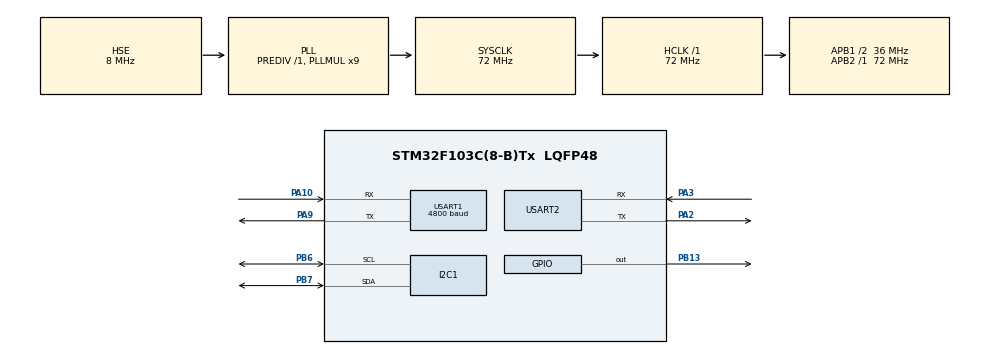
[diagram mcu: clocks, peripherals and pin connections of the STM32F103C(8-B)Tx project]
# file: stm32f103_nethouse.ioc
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Mcu.Family=STM32F1
Mcu.Name=STM32F103C(8-B)Tx
Mcu.Package=LQFP48
NVIC.PriorityGroup=NVIC_PRIORITYGROUP_4
PA10.Mode=Asynchronous
PA10.Signal=USART1_RX
PA13.Mode=Serial_Wire
PA13.Signal=SYS_JTMS-SWDIO
PA14.Mode=Serial_Wire
PA14.Signal=SYS_JTCK-SWCLK
PA2.Mode=Asynchronous
PA2.Signal=USART2_TX
PA3.Mode=Asynchronous
PA3.Signal=USART2_RX
PA9.Mode=Asynchronous
PA9.Signal=USART1_TX
PB13.Signal=GPIO_Output
PB6.Mode=I2C
PB6.Signal=I2C1_SCL
PB7.Mode=I2C
PB7.Signal=I2C1_SDA
PD0-OSC_IN.Mode=HSE-External-Oscillator
PD0-OSC_IN.Signal=RCC_OSC_IN
PD1-OSC_OUT.Mode=HSE-External-Oscillator
PD1-OSC_OUT.Signal=RCC_OSC_OUT
ProjectManager.HeapSize=0x200
ProjectManager.StackSize=0x400
ProjectManager.TargetToolchain=STM32CubeIDE
RCC.AHBFreq_Value=72000000
RCC.APB1CLKDivider=RCC_HCLK_DIV2
RCC.APB1Freq_Value=36000000
RCC.APB1TimFreq_Value=72000000
RCC.APB2Freq_Value=72000000
RCC.APB2TimFreq_Value=72000000
RCC.HCLKFreq_Value=72000000
RCC.PLLMUL=RCC_PLL_MUL9
RCC.PLLSourceVirtual=RCC_PLLSOURCE_HSE
RCC.SYSCLKFreq_VALUE=72000000
RCC.SYSCLKSource=RCC_SYSCLKSOURCE_PLLCLK
RCC.USBFreq_Value=72000000
USART1.BaudRate=4800
USART1.VirtualMode=VM_ASYNC
USART2.VirtualMode=VM_ASYNC
board=custom

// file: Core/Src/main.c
/* USER CODE BEGIN Header */
/**
  ******************************************************************************
  * @file           : main.c
  * @brief          : Main program body
  ******************************************************************************
  * @attention
  *
  * Copyright (c) 2025 STMicroelectronics.
  * All rights reserved.
  *
  * This software is licensed under terms that can be found in the LICENSE file
  * in the root directory of this software component.
  * If no LICENSE file comes with this software, it is provided AS-IS.
  *
  ******************************************************************************
  */
/* USER CODE END Header */
#include "main.h"

/* USER CODE BEGIN Includes */
#include "modbus_crc.h"
#include "stdint.h"
/* USER CODE END Includes */

I2C_HandleTypeDef hi2c1;

UART_HandleTypeDef huart1;
UART_HandleTypeDef huart2;

/* USER CODE BEGIN PV */
//uint8_t button = 0;

#define DS3231_ADDRESS 0x68
// Declare individual variables for time and date
uint8_t seconds, minutes, hour, dayofweek, dayofmonth, month, year;

// Commands for operation pump
uint8_t cmd_off_motor = 0x00;
uint8_t cmd_on_motor  = 0x01;

//Commands to read modbus sensor
uint8_t modbus_cmd[8];
uint8_t modbus_recv[15];

float moisture           = 0.0;
uint16_t moisture_raw    = 0;
uint16_t temperature_raw = 0;
uint16_t ec_raw          = 0;

/* USER CODE END PV */

void SystemClock_Config(void);
static void MX_GPIO_Init(void);
static void MX_USART1_UART_Init(void);
static void MX_USART2_UART_Init(void);
static void MX_I2C1_Init(void);

/* USER CODE BEGIN 0 */

//====================================== Read Modbus Sensor====================================//

void modbus_tx_data() {
    uint8_t modbus_cmd[8] = {0x01, 0x03, 0x00, 0x00, 0x00, 0x03};
    // Calculate CRC for the first 6 bytes
    uint16_t crc = crc16(modbus_cmd, 6);
    modbus_cmd[6] = crc & 0xFF;       // CRC LOW
    modbus_cmd[7] = (crc >> 8) & 0xFF; // CRC HIGH

    HAL_UART_Transmit(&huart1, modbus_cmd, 8, 1000); // Send data
    HAL_Delay(10);
    HAL_UART_Receive(&huart1, modbus_recv, 15, 1000);

	if (modbus_recv[0] == 0x01 && modbus_recv[1] == 0x03) {
		moisture_raw = (modbus_recv[3] << 8) | modbus_recv[4];
		temperature_raw = (modbus_recv[5] << 8) | modbus_recv[6];
		ec_raw = (modbus_recv[7] << 8) | modbus_recv[8];
        moisture = moisture_raw / 10.0;       // Convert to %
	}
}

//========================================== RTC Function======================================//

// Convert normal decimal numbers to binary coded decimal
uint8_t decToBcd(int val)
{
    return (uint8_t)((val / 10 * 16) + (val % 10));
}

// Convert binary coded decimal to normal decimal numbers
int bcdToDec(uint8_t val)
{
    return (int)((val / 16 * 10) + (val % 16));
}

// Function to set time
void Set_Time(uint8_t sec, uint8_t min, uint8_t hr, uint8_t dow, uint8_t dom, uint8_t mon, uint8_t yr)
{
    uint8_t set_time[7];
    set_time[0] = decToBcd(sec);   // Seconds
    set_time[1] = decToBcd(min);   // Minutes
    set_time[2] = decToBcd(hr);    // Hours
    set_time[3] = decToBcd(dow);   // Day of week
    set_time[4] = decToBcd(dom);   // Day of month
    set_time[5] = decToBcd(mon);   // Month
    set_time[6] = decToBcd(yr);    // Year

    HAL_I2C_Mem_Write(&hi2c1, DS3231_ADDRESS << 1, 0x00, 1, set_time, 7, 1000);
}

// Function to get time
void Get_Time(void)
{
    uint8_t get_time[7];
    HAL_I2C_Mem_Read(&hi2c1, DS3231_ADDRESS << 1, 0x00, 1, get_time, 7, 1000);

    // Convert BCD values to decimal and store in individual variables
    seconds = bcdToDec(get_time[0]);
    minutes = bcdToDec(get_time[1]);
    hour = bcdToDec(get_time[2]);
    dayofweek = bcdToDec(get_time[3]);
    dayofmonth = bcdToDec(get_time[4]);
    month = bcdToDec(get_time[5]);
    year = bcdToDec(get_time[6]);
}

/* USER CODE END 0 */

int main(void)
{

  /* MCU Configuration--------------------------------------------------------*/

  /* Reset of all peripherals, Initializes the Flash interface and the Systick. */
  HAL_Init();

  /* Configure the system clock */
  SystemClock_Config();

  /* Initialize all configured peripherals */
  MX_GPIO_Init();
  MX_USART1_UART_Init();
  MX_USART2_UART_Init();
  MX_I2C1_Init();
  /* USER CODE BEGIN 2 */

  //Initialize RTC
  Set_Time(00, 20, 10, 1, 20, 5, 25);

  //Turn OFF Valve and cmd to turn off valve
  HAL_GPIO_WritePin(GPIOB, GPIO_PIN_13, 0);
  HAL_UART_Transmit(&huart2, &cmd_off_motor, 1, HAL_MAX_DELAY);

  /* USER CODE END 2 */

  /* Infinite loop */
  while (1)
  {

    /* USER CODE BEGIN 3 */

      // Get current time from RTC
      Get_Time();
      if (hour == 10 && minutes >= 21 && minutes < 22)
      {
          // Perform Modbus communication to read sensor data
          modbus_tx_data();

          // Control the motor based on moisture level
          if (moisture < 40)
          {
              // Turn ON Valve
              HAL_GPIO_WritePin(GPIOB, GPIO_PIN_13, 1);
              HAL_Delay(10);

              // Send command to turn ON Motor
              HAL_UART_Transmit(&huart2, &cmd_on_motor, 1, HAL_MAX_DELAY);
          }
          else
          {
        	  //Test LED state
        	  HAL_GPIO_WritePin(GPIOC, GPIO_PIN_13, 0);
              // Send command to turn OFF Motor
              HAL_UART_Transmit(&huart2, &cmd_off_motor, 1, HAL_MAX_DELAY);
              HAL_Delay(1000);

              // Turn OFF Valve
              HAL_GPIO_WritePin(GPIOB, GPIO_PIN_13, 0);
          }
      }
      else
      {
          // Outside operational hours (6 PM to 6 AM)
          // Ensure the motor is turned OFF
          HAL_UART_Transmit(&huart2, &cmd_off_motor, 1, HAL_MAX_DELAY);
          HAL_Delay(3000);
          // Turn OFF Valve
          HAL_GPIO_WritePin(GPIOB, GPIO_PIN_13, 0);
      }

      // Delay before the next iteration
      HAL_Delay(1000);

  }
  /* USER CODE END 3 */
}

void SystemClock_Config(void)
{
  RCC_OscInitTypeDef RCC_OscInitStruct = {0};
  RCC_ClkInitTypeDef RCC_ClkInitStruct = {0};

  /** Initializes the RCC Oscillators according to the specified parameters
  * in the RCC_OscInitTypeDef structure.
  */
  RCC_OscInitStruct.OscillatorType = RCC_OSCILLATORTYPE_HSE;
  RCC_OscInitStruct.HSEState = RCC_HSE_ON;
  RCC_OscInitStruct.HSEPredivValue = RCC_HSE_PREDIV_DIV1;
  RCC_OscInitStruct.HSIState = RCC_HSI_ON;
  RCC_OscInitStruct.PLL.PLLState = RCC_PLL_ON;
  RCC_OscInitStruct.PLL.PLLSource = RCC_PLLSOURCE_HSE;
  RCC_OscInitStruct.PLL.PLLMUL = RCC_PLL_MUL9;
  if (HAL_RCC_OscConfig(&RCC_OscInitStruct) != HAL_OK)
  {
    Error_Handler();
  }

  /** Initializes the CPU, AHB and APB buses clocks
  */
  RCC_ClkInitStruct.ClockType = RCC_CLOCKTYPE_HCLK|RCC_CLOCKTYPE_SYSCLK
                              |RCC_CLOCKTYPE_PCLK1|RCC_CLOCKTYPE_PCLK2;
  RCC_ClkInitStruct.SYSCLKSource = RCC_SYSCLKSOURCE_PLLCLK;
  RCC_ClkInitStruct.AHBCLKDivider = RCC_SYSCLK_DIV1;
  RCC_ClkInitStruct.APB1CLKDivider = RCC_HCLK_DIV2;
  RCC_ClkInitStruct.APB2CLKDivider = RCC_HCLK_DIV1;

  if (HAL_RCC_ClockConfig(&RCC_ClkInitStruct, FLASH_LATENCY_2) != HAL_OK)
  {
    Error_Handler();
  }
}

static void MX_I2C1_Init(void)
{

  hi2c1.Instance = I2C1;
  hi2c1.Init.ClockSpeed = 100000;
  hi2c1.Init.DutyCycle = I2C_DUTYCYCLE_2;
  hi2c1.Init.OwnAddress1 = 0;
  hi2c1.Init.AddressingMode = I2C_ADDRESSINGMODE_7BIT;
  hi2c1.Init.DualAddressMode = I2C_DUALADDRESS_DISABLE;
  hi2c1.Init.OwnAddress2 = 0;
  hi2c1.Init.GeneralCallMode = I2C_GENERALCALL_DISABLE;
  hi2c1.Init.NoStretchMode = I2C_NOSTRETCH_DISABLE;
  if (HAL_I2C_Init(&hi2c1) != HAL_OK)
  {
    Error_Handler();
  }

}

static void MX_USART1_UART_Init(void)
{

  huart1.Instance = USART1;
  huart1.Init.BaudRate = 4800;
  huart1.Init.WordLength = UART_WORDLENGTH_8B;
  huart1.Init.StopBits = UART_STOPBITS_1;
  huart1.Init.Parity = UART_PARITY_NONE;
  huart1.Init.Mode = UART_MODE_TX_RX;
  huart1.Init.HwFlowCtl = UART_HWCONTROL_NONE;
  huart1.Init.OverSampling = UART_OVERSAMPLING_16;
  if (HAL_UART_Init(&huart1) != HAL_OK)
  {
    Error_Handler();
  }

}

static void MX_USART2_UART_Init(void)
{

  huart2.Instance = USART2;
  huart2.Init.BaudRate = 115200;
  huart2.Init.WordLength = UART_WORDLENGTH_8B;
  huart2.Init.StopBits = UART_STOPBITS_1;
  huart2.Init.Parity = UART_PARITY_NONE;
  huart2.Init.Mode = UART_MODE_TX_RX;
  huart2.Init.HwFlowCtl = UART_HWCONTROL_NONE;
  huart2.Init.OverSampling = UART_OVERSAMPLING_16;
  if (HAL_UART_Init(&huart2) != HAL_OK)
  {
    Error_Handler();
  }

}

static void MX_GPIO_Init(void)
{
  GPIO_InitTypeDef GPIO_InitStruct = {0};

  /* GPIO Ports Clock Enable */
  __HAL_RCC_GPIOD_CLK_ENABLE();
  __HAL_RCC_GPIOA_CLK_ENABLE();
  __HAL_RCC_GPIOB_CLK_ENABLE();

  /*Configure GPIO pin Output Level */
  HAL_GPIO_WritePin(GPIOB, GPIO_PIN_13, GPIO_PIN_RESET);

  /*Configure GPIO pin : PB13 */
  GPIO_InitStruct.Pin = GPIO_PIN_13;
  GPIO_InitStruct.Mode = GPIO_MODE_OUTPUT_PP;
  GPIO_InitStruct.Pull = GPIO_NOPULL;
  GPIO_InitStruct.Speed = GPIO_SPEED_FREQ_LOW;
  HAL_GPIO_Init(GPIOB, &GPIO_InitStruct);

}

void Error_Handler(void)
{
  __disable_irq();
  while (1)
  {
  }
}
